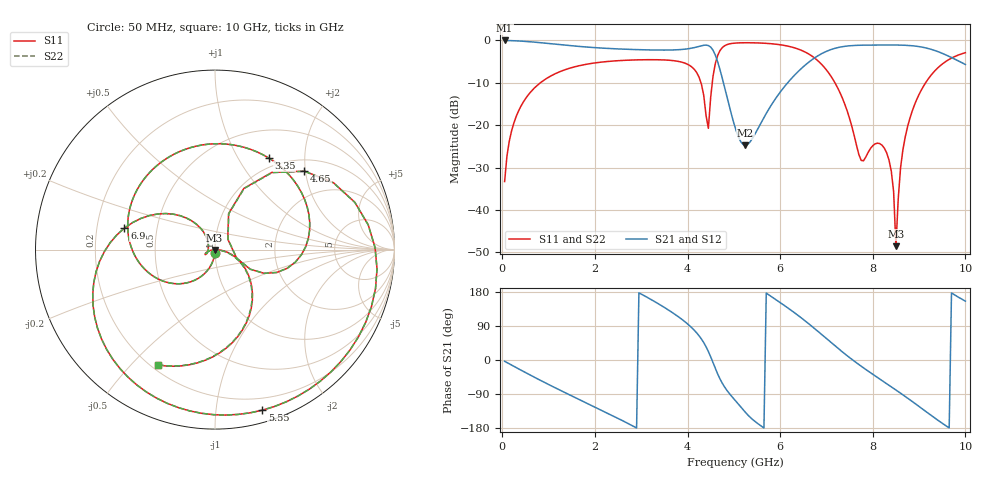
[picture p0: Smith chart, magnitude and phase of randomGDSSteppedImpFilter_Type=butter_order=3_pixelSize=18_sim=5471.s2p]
! freq	dB(S11)	phase(S11)	dB(S12)	phase(S12)
!  dB(S21)	phase(S21)	dB(S22)	phase(S22)
!S-par simulation data
#  GHz  S  DB  R 50
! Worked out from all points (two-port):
!   200 points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, 50 MHz to 10 GHz, reference 50 ohm
!   highest |S21| = -0.01 dB at 50 MHz (marker M1); lowest = -24.7 dB at 5.25 GHz (marker M2)
!   |S21| within 3 dB of the highest: start of sweep to 4.581 GHz; 6.916 GHz to 9.492 GHz (2.576 GHz wide, 31.4 % of centre)
!   lowest |S11| = -48.5 dB at 8.5 GHz (marker M3), VSWR 1.01, Z = 49.7 - j0.257 ohm
!   |S11| at or under -10 dB: start of sweep to 822.3 MHz; 4.29 GHz to 4.535 GHz (244.4 MHz wide, 5.54 % of centre); 7.183 GHz to 9.141 GHz (1.958 GHz wide, 24 % of centre)
!   |S22| runs from -47.5 to -0.5 dB; largest |S21 - S12| = 0
!   S11 on the Smith chart (normalised r, x): 50 MHz: 1.00, -0.04; 3.35 GHz: 0.86, +1.36; 4.65 GHz: 1.27, +1.97; 5.55 GHz: 0.10, -1.33; 6.9 GHz: 0.32, +0.10; 10 GHz: 0.23, -0.60
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0.05  -33.29 -93.3  -0.01 -3.4  -0.01 -3.4  -33.29 -93.3
0.5  -13.76 -123.6  -0.23 -33.1  -0.23 -33.1  -13.76 -123.6
1.75  -5.76 160.0  -1.50 -109.5  -1.50 -109.5  -5.76 159.9
3.35  -4.56 59.7  -2.27 149.8  -2.27 149.8  -4.56 59.7
3.4  -4.57 56.1  -2.27 146.2  -2.27 146.2  -4.57 56.1
4.25  -8.70 -20.3  -1.40 63.8  -1.40 63.8  -8.69 -20.3
4.45  -20.73 39.4  -1.21 22.4  -1.21 22.4  -20.64 39.0
4.65  -3.57 41.3  -5.01 -36.7  -5.01 -36.7  -3.57 41.1
5.05  -0.61 -25.8  -21.30 -109.5  -21.30 -109.5  -0.61 -25.9
5.25  -0.55 -46.6  -24.74 -138.1  -24.74 -138.1  -0.55 -46.7
5.55  -0.60 -73.6  -20.20 -170.7  -20.20 -170.7  -0.60 -73.7
6.7  -3.79 -174.2  -4.45 87.4  -4.45 87.4  -3.79 -174.3
6.9  -5.70 166.7  -3.09 66.9  -3.09 66.9  -5.70 166.6
7.55  -20.36 123.7  -1.22 1.6  -1.22 1.6  -20.39 123.4
7.75  -28.30 163.1  -1.13 -16.4  -1.13 -16.4  -28.47 163.1
8.35  -28.20 -166.0  -1.08 -66.6  -1.08 -66.6  -28.23 -163.9
8.45  -35.65 -171.5  -1.08 -74.9  -1.08 -74.9  -35.65 -166.0
8.5  -48.54 -136.3  -1.09 -79.1  -1.09 -79.1  -47.45 -123.0
8.6  -30.06 -5.3  -1.11 -87.5  -1.11 -87.5  -30.01 -8.7
8.85  -16.72 -24.3  -1.25 -109.2  -1.25 -109.2  -16.71 -25.2
9.35  -7.07 -66.7  -2.41 -154.1  -2.41 -154.1  -7.07 -67.1
10  -2.89 -116.1  -5.68 155.3  -5.68 155.3  -2.89 -116.4
